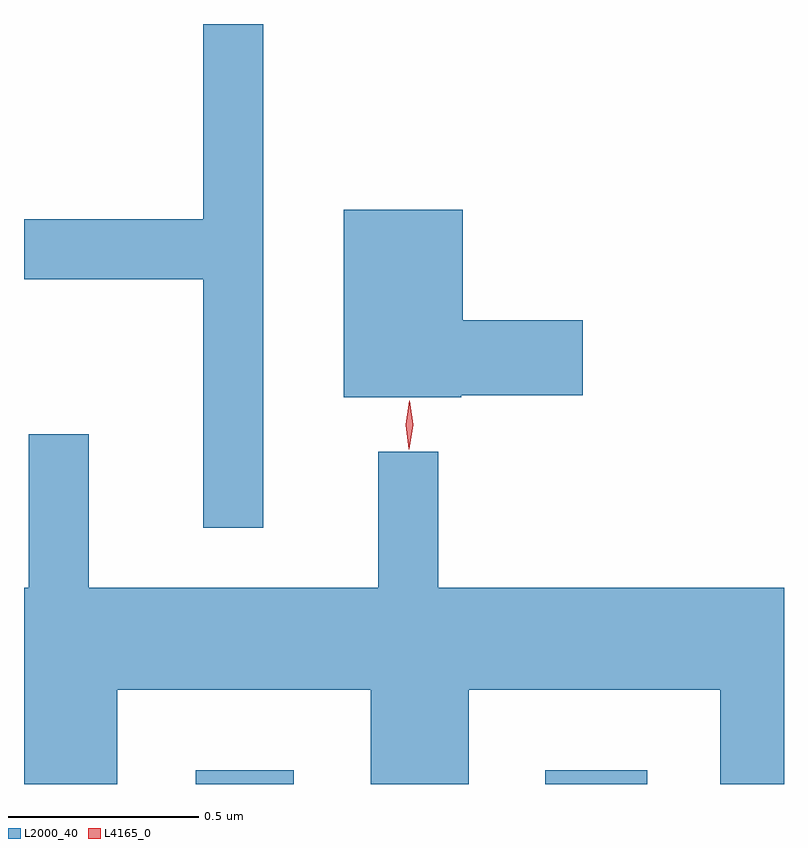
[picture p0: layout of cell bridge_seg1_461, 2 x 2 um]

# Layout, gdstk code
import gdstk
lib = gdstk.Library(unit=1e-6, precision=1e-09)
def R(c, l, rs):  # rectangles x0, y0, x1, y1
    for r in rs: c.add(gdstk.rectangle(r[:2], r[2:], *l))
def P(c, l, *ps):  # polygons
    for p in ps: c.add(gdstk.Polygon(p, *l))
L2000_40 = (2000, 40)
L4165_0 = (4165, 0)

bridge_seg1_461 = lib.new_cell('bridge_seg1_461')
R(bridge_seg1_461, L2000_40, [(346.886,850.488,347.144,850.524), (347.806,850.488,348.074,850.524)])
P(bridge_seg1_461, L2000_40, [(347.064,852.488),(346.906,852.488),(346.906,851.974),(346.434,851.974),(346.434,851.816),(346.906,851.816),(346.906,851.163),(347.064,851.163)],
  [(347.585,851.511),(347.904,851.511),(347.904,851.709),(347.589,851.709),(347.589,851.999),(347.276,851.999),(347.276,851.506),(347.585,851.506)],
  [(346.679,850.736),(347.346,850.736),(347.346,850.488),(347.604,850.488),(347.604,850.736),(348.266,850.736),(348.266,850.488),(348.434,850.488),(348.434,851.004),(347.524,851.004),(347.524,851.363),(347.366,851.363),(347.366,851.004),(346.604,851.004),(346.604,851.408),(346.446,851.408),(346.446,851.004),(346.434,851.004),(346.434,850.488),(346.679,850.488)])
P(bridge_seg1_461, L4165_0, [(347.447,851.369),(347.438,851.433),(347.448,851.496),(347.449,851.497),(347.449,851.496),(347.458,851.433),(347.448,851.369),(347.448,851.369)])

lib.write_gds('bridge_seg1_461.gds')
